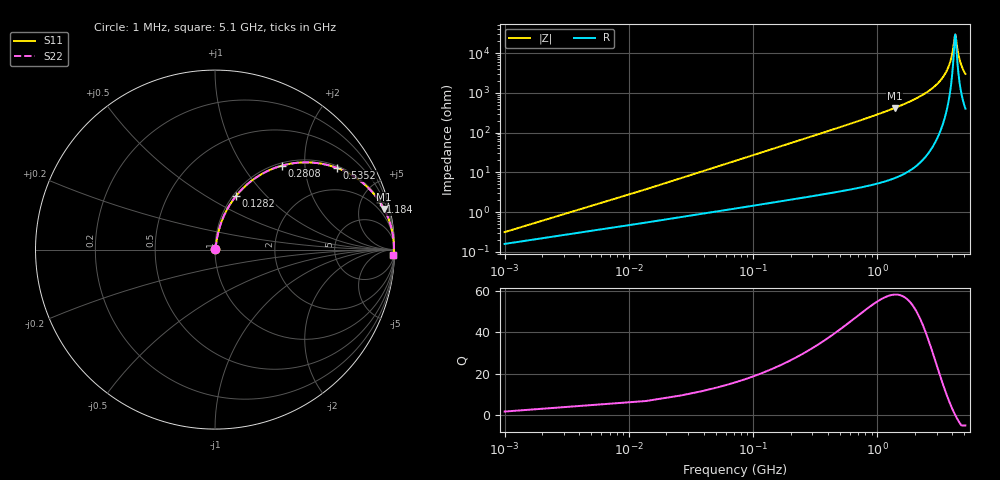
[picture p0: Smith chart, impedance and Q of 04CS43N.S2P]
! Coilcraft 0402CS-43N Chip Inductor
! 22 July 2002
# MHZ S MA R 50
!Freq  MagS11  AngS11  MagS21  AngS21  MagS12  AngS12  MagS22  AngS22
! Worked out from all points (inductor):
!   402 points, 1 MHz to 5.1 GHz, reference 50 ohm
!   read as one part in series: L = 43 nH near 26.44 MHz
!   highest Q = 58.2 at 1.375 GHz (marker M1), where L = 48.1 nH
!   self-resonance near 4.224 GHz
!   S11 on the Smith chart (normalised r, x): 1 MHz: 1.00, +0.01; 128.2 MHz: 1.03, +0.69; 280.8 MHz: 1.05, +1.52; 535.2 MHz: 1.07, +2.94; 1.184 GHz: 1.12, +6.94; 5.1 GHz: 9, -59
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1  0.003125 59.5  0.9984 -0.2  0.9984 -0.2  0.003125 59.5
39.16  0.1047 79.1  0.9856 -6.0  0.9856 -6.0  0.1047 79.1
51.88  0.1378 77.8  0.9803 -7.9  0.9803 -7.9  0.1378 77.8
77.32  0.2025 74.9  0.9671 -11.7  0.9671 -11.7  0.2025 74.9
128.2  0.3232 68.5  0.9312 -18.8  0.9312 -18.8  0.3232 68.5
191.8  0.454 60.8  0.8737 -27.0  0.8737 -27.0  0.454 60.8
280.84  0.5972 51.5  0.7832 -36.7  0.7832 -36.7  0.5972 51.5
535.24  0.818 33.8  0.5564 -54.9  0.5564 -54.9  0.818 33.8
853.24  0.9171 22.4  0.3815 -66.5  0.3815 -66.5  0.9171 22.4
1183.96  0.9565 16.0  0.2755 -73.0  0.2755 -73.0  0.9565 16.0
1374.76  0.9685 13.5  0.2331 -75.5  0.2331 -75.5  0.9685 13.5
1705.48  0.9808 10.3  0.1782 -78.7  0.1782 -78.7  0.9808 10.3
2557.72  0.9934 5.2  0.0911 -83.2  0.0911 -83.2  0.9934 5.2
3409.96  0.9966 2.2  0.03784 -83.7  0.03784 -83.7  0.9966 2.2
3855.16  0.9968 0.9  0.01636 -78.4  0.01636 -78.4  0.9968 0.9
4020.52  0.9968 0.5  0.009296 -69.4  0.009296 -69.4  0.9968 0.5
4198.6  0.9966 0.1  0.003557 -19.1  0.003557 -19.1  0.9966 0.1
4262.2  0.9966 -0.1  0.003718 22.9  0.003718 22.9  0.9966 -0.1
4414.84  0.9964 -0.4  0.008391 64.3  0.008391 64.3  0.9964 -0.4
4580.2  0.9961 -0.8  0.0145 74.1  0.0145 74.1  0.9961 -0.8
4809.16  0.9957 -1.3  0.0229 78.5  0.0229 78.5  0.9957 -1.3
5100  0.995 -1.9  0.03316 80.4  0.03316 80.4  0.995 -1.9
